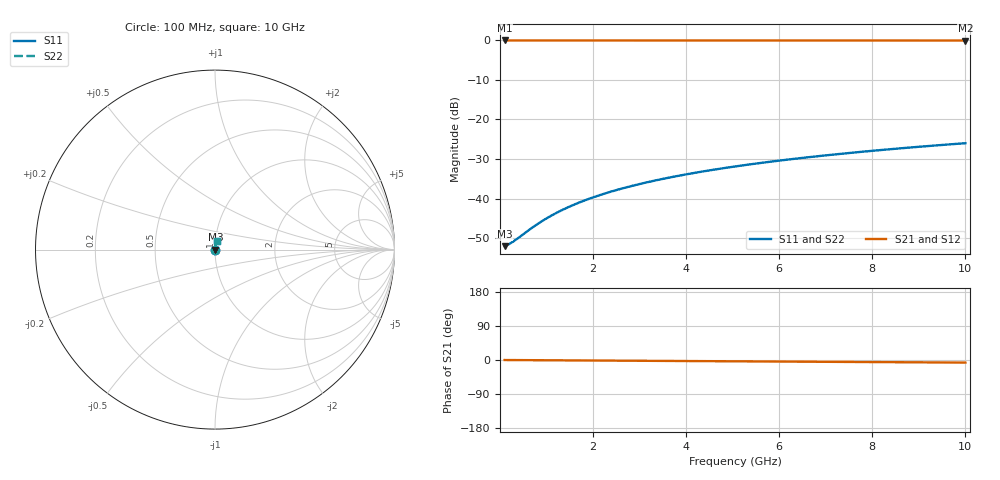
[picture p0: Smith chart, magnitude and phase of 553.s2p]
# Hz S RI R 50.00
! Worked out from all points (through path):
!   100 points, 100 MHz to 10 GHz, reference 50 ohm
!   highest |S21| = -0.02 dB at 100 MHz (marker M1); lowest = 0.0 dB at 10 GHz (marker M2)
!   lowest |S11| = -52.0 dB at 100 MHz (marker M3), VSWR 1.01, Z = 50.2 + j0.0502 ohm
!   |S11| at or under -10 dB: start of sweep to end of sweep
!   |S22| runs from -52.0 to -26.0 dB; largest |S21 - S12| = 0
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1e8  0.00246 0.000499  0.9975 -0.00119  0.9975 -0.00119  0.00246 0.000499
2e8  0.00247 0.000998  0.9975 -0.00238  0.9975 -0.00238  0.00247 0.000998
3e8  0.00249 0.0015  0.9975 -0.00357  0.9975 -0.00357  0.00249 0.0015
6e8  0.00253 0.00299  0.9975 -0.00713  0.9975 -0.00713  0.00253 0.00299
8e8  0.00256 0.00399  0.9974 -0.00951  0.9974 -0.00951  0.00256 0.00399
9e8  0.00257 0.00449  0.9974 -0.0107  0.9974 -0.0107  0.00257 0.00449
1.1e9  0.00261 0.00549  0.9974 -0.0131  0.9974 -0.0131  0.00261 0.00549
1.4e9  0.00266 0.00699  0.9973 -0.0166  0.9973 -0.0166  0.00266 0.00699
1.6e9  0.00271 0.00798  0.9972 -0.019  0.9972 -0.019  0.00271 0.00798
1.8e9  0.00275 0.00898  0.9972 -0.0214  0.9972 -0.0214  0.00275 0.00898
2.1e9  0.00283 0.0105  0.997 -0.025  0.997 -0.025  0.00283 0.0105
2.5e9  0.00295 0.0125  0.9969 -0.0297  0.9969 -0.0297  0.00295 0.0125
2.9e9  0.00309 0.0145  0.9967 -0.0345  0.9967 -0.0345  0.00309 0.0145
3.4e9  0.00329 0.0169  0.9964 -0.0404  0.9964 -0.0404  0.00329 0.0169
3.8e9  0.00347 0.0189  0.9962 -0.0452  0.9962 -0.0452  0.00347 0.0189
4.2e9  0.00367 0.0209  0.9959 -0.0499  0.9959 -0.0499  0.00367 0.0209
5.1e9  0.00419 0.0254  0.9952 -0.0606  0.9952 -0.0606  0.00419 0.0254
5.9e9  0.00473 0.0293  0.9944 -0.0701  0.9944 -0.0701  0.00473 0.0293
6.7e9  0.00534 0.0333  0.9935 -0.0795  0.9935 -0.0795  0.00534 0.0333
7.5e9  0.00603 0.0372  0.9926 -0.089  0.9926 -0.089  0.00603 0.0372
8.4e9  0.00689 0.0416  0.9914 -0.0996  0.9914 -0.0996  0.00689 0.0416
1e10  0.00866 0.0494  0.9889 -0.1185  0.9889 -0.1185  0.00866 0.0494
